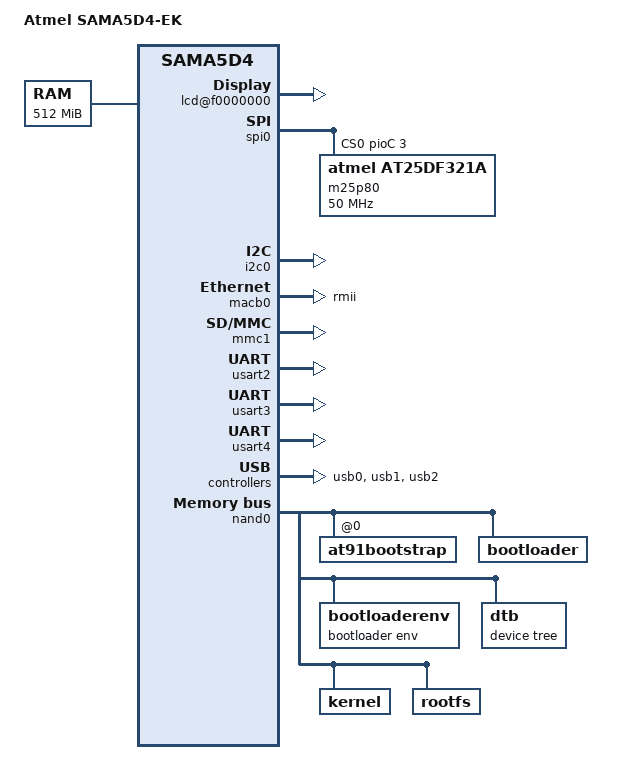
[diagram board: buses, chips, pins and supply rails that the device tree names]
/*
 * sama5d4ek.dtsi - Device Tree Include file for SAMA5D4 Evaluation Kit
 *
 *  Copyright (C) 2013 Atmel,
 *                2013 Nicolas Ferre <nicolas.ferre@atmel.com>
 *
 * Licensed under GPLv2 or later.
 */
/dts-v1/;
#include "sama5d4.dtsi"

/ {
	model = "Atmel SAMA5D4-EK";
	compatible = "atmel,sama5d4ek", "atmel,sama5d4", "atmel,sama5";

	chosen {
		bootargs = "console=ttyS0,115200 ignore_loglevel earlyprintk";
	};

	memory {
		reg = <0x20000000 0x20000000>;
	};

	clocks {
		#address-cells = <1>;
		#size-cells = <1>;
		ranges;

		main_clock: clock@0 {
			compatible = "atmel,osc", "fixed-clock";
			clock-frequency = <12000000>;
		};
	};

	ahb {
		apb {
			lcd_bus@f0000000 {
				status = "okay";

				lcd@f0000000 {
					status = "okay";
				};

				lcdovl1@f0000140 {
					status = "okay";
				};

				lcdovl2@f0000240 {
					status = "okay";
				};

				lcdheo1@f0000340 {
					status = "okay";
				};
			};

			mmc0: mmc@f8000000 {
				pinctrl-names = "default";
				pinctrl-0 = <&pinctrl_mmc0_clk_cmd_dat0 &pinctrl_mmc0_dat1_3 &pinctrl_mmc0_cd>;
				slot@1 {
					reg = <1>;
					bus-width = <4>;
					cd-gpios = <&pioE 5 0>;
				};
			};

			spi0: spi@f8010000 {
				cs-gpios = <&pioC 3 0>, <0>, <0>, <0>;
				status = "okay";
				m25p80@0 {
					compatible = "atmel,at25df321a";
					spi-max-frequency = <50000000>;
					reg = <0>;
				};
			};

			i2c0: i2c@f8014000 {
				status = "okay";
			};

			macb0: ethernet@f8020000 {
				phy-mode = "rmii";
				status = "okay";
			};

			mmc1: mmc@fc000000 {
				pinctrl-names = "default";
				pinctrl-0 = <&pinctrl_mmc1_clk_cmd_dat0 &pinctrl_mmc1_dat1_3 &pinctrl_mmc1_cd>;
				status = "okay";
				slot@0 {
					reg = <0>;
					bus-width = <4>;
					cd-gpios = <&pioE 6 0>;
				};
			};

			usart2: serial@fc008000 {
				status = "okay";
			};

			usart3: serial@fc00c000 {
				status = "okay";
			};

			usart4: serial@fc010000 {
				status = "okay";
			};

			pinctrl@fc06a000 {
				board {
					pinctrl_mmc0_cd: mmc0_cd {
						atmel,pins =
							<AT91_PIOE 5 AT91_PERIPH_GPIO AT91_PINCTRL_PULL_UP_DEGLITCH>;
					};
					pinctrl_mmc1_cd: mmc1_cd {
						atmel,pins =
							<AT91_PIOE 6 AT91_PERIPH_GPIO AT91_PINCTRL_PULL_UP_DEGLITCH>;
					};
					pinctrl_usba_vbus: usba_vbus {
						atmel,pins =
							<AT91_PIOE 31 AT91_PERIPH_GPIO AT91_PINCTRL_DEGLITCH>;
					};
				};
			};
		};

		usb0: gadget@00400000 {
			atmel,vbus-gpio = <&pioE 31 GPIO_ACTIVE_HIGH>;
			pinctrl-names = "default";
			pinctrl-0 = <&pinctrl_usba_vbus>;
			status = "okay";
		};

		usb1: ohci@00500000 {
			num-ports = <3>;
			atmel,vbus-gpio = <0 /* &pioE 10 GPIO_ACTIVE_LOW */
					   &pioE 11 GPIO_ACTIVE_LOW
					   &pioE 12 GPIO_ACTIVE_LOW
					  >;
			status = "okay";
		};

		usb2: ehci@00600000 {
			status = "okay";
		};

		nand0: nand@80000000 {
			nand-bus-width = <8>;
			nand-ecc-mode = "soft_bch";
			nand-on-flash-bbt;
			status = "okay";

			at91bootstrap@0 {
				label = "at91bootstrap";
				reg = <0x0 0x40000>;
			};

			bootloader@40000 {
				label = "bootloader";
				reg = <0x40000 0x80000>;
			};

			bootloaderenv@c0000 {
				label = "bootloader env";
				reg = <0xc0000 0xc0000>;
			};

			dtb@180000 {
				label = "device tree";
				reg = <0x180000 0x80000>;
			};

			kernel@200000 {
				label = "kernel";
				reg = <0x200000 0x600000>;
			};

			rootfs@800000 {
				label = "rootfs";
				reg = <0x800000 0x0f800000>;
			};
		};
	};
};
